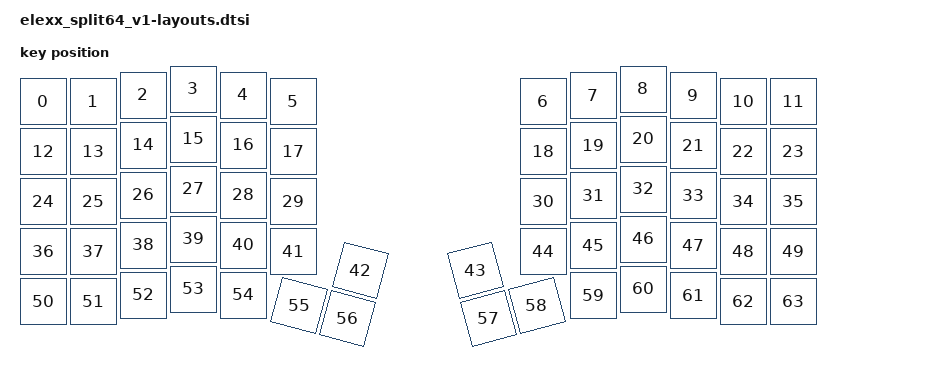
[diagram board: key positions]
#include <physical_layouts.dtsi>

/ {
    physical_layout0: physical_layout_0 {
        compatible = "zmk,physical-layout";
        display-name = "Default";
        transform = <&default_transform>;

        keys  //                     w   h    x    y     rot    rx    ry
            = <&key_physical_attrs 100 100    0   25       0     0     0>
            , <&key_physical_attrs 100 100  100   25       0     0     0>
            , <&key_physical_attrs 100 100  200   12       0     0     0>
            , <&key_physical_attrs 100 100  300    0       0     0     0>
            , <&key_physical_attrs 100 100  400   12       0     0     0>
            , <&key_physical_attrs 100 100  500   25       0     0     0>
            , <&key_physical_attrs 100 100 1000   25       0     0     0>
            , <&key_physical_attrs 100 100 1100   13       0     0     0>
            , <&key_physical_attrs 100 100 1200    0       0     0     0>
            , <&key_physical_attrs 100 100 1300   13       0     0     0>
            , <&key_physical_attrs 100 100 1400   25       0     0     0>
            , <&key_physical_attrs 100 100 1500   25       0     0     0>
            , <&key_physical_attrs 100 100    0  125       0     0     0>
            , <&key_physical_attrs 100 100  100  125       0     0     0>
            , <&key_physical_attrs 100 100  200  112       0     0     0>
            , <&key_physical_attrs 100 100  300  100       0     0     0>
            , <&key_physical_attrs 100 100  400  112       0     0     0>
            , <&key_physical_attrs 100 100  500  125       0     0     0>
            , <&key_physical_attrs 100 100 1000  125       0     0     0>
            , <&key_physical_attrs 100 100 1100  113       0     0     0>
            , <&key_physical_attrs 100 100 1200  100       0     0     0>
            , <&key_physical_attrs 100 100 1300  113       0     0     0>
            , <&key_physical_attrs 100 100 1400  125       0     0     0>
            , <&key_physical_attrs 100 100 1500  125       0     0     0>
            , <&key_physical_attrs 100 100    0  225       0     0     0>
            , <&key_physical_attrs 100 100  100  225       0     0     0>
            , <&key_physical_attrs 100 100  200  212       0     0     0>
            , <&key_physical_attrs 100 100  300  200       0     0     0>
            , <&key_physical_attrs 100 100  400  212       0     0     0>
            , <&key_physical_attrs 100 100  500  225       0     0     0>
            , <&key_physical_attrs 100 100 1000  225       0     0     0>
            , <&key_physical_attrs 100 100 1100  213       0     0     0>
            , <&key_physical_attrs 100 100 1200  200       0     0     0>
            , <&key_physical_attrs 100 100 1300  213       0     0     0>
            , <&key_physical_attrs 100 100 1400  225       0     0     0>
            , <&key_physical_attrs 100 100 1500  225       0     0     0>
            , <&key_physical_attrs 100 100    0  325       0     0     0>
            , <&key_physical_attrs 100 100  100  325       0     0     0>
            , <&key_physical_attrs 100 100  200  312       0     0     0>
            , <&key_physical_attrs 100 100  300  300       0     0     0>
            , <&key_physical_attrs 100 100  400  312       0     0     0>
            , <&key_physical_attrs 100 100  500  325       0     0     0>
            , <&key_physical_attrs 100 100  600  325    1500   525   525>
            , <&key_physical_attrs 100 100  900  325 (-1500)  1075   525>
            , <&key_physical_attrs 100 100 1000  325       0     0     0>
            , <&key_physical_attrs 100 100 1100  313       0     0     0>
            , <&key_physical_attrs 100 100 1200  300       0     0     0>
            , <&key_physical_attrs 100 100 1300  313       0     0     0>
            , <&key_physical_attrs 100 100 1400  325       0     0     0>
            , <&key_physical_attrs 100 100 1500  325       0     0     0>
            , <&key_physical_attrs 100 100    0  425       0     0     0>
            , <&key_physical_attrs 100 100  100  425       0     0     0>
            , <&key_physical_attrs 100 100  200  412       0     0     0>
            , <&key_physical_attrs 100 100  300  400       0     0     0>
            , <&key_physical_attrs 100 100  400  412       0     0     0>
            , <&key_physical_attrs 100 100  500  425    1500   525   525>
            , <&key_physical_attrs 100 100  600  425    1500   525   525>
            , <&key_physical_attrs 100 100  900  425 (-1500)  1075   525>
            , <&key_physical_attrs 100 100 1000  425 (-1500)  1075   525>
            , <&key_physical_attrs 100 100 1100  413       0     0     0>
            , <&key_physical_attrs 100 100 1200  400       0     0     0>
            , <&key_physical_attrs 100 100 1300  413       0     0     0>
            , <&key_physical_attrs 100 100 1400  425       0     0     0>
            , <&key_physical_attrs 100 100 1500  425       0     0     0>
            ;
    };
};
